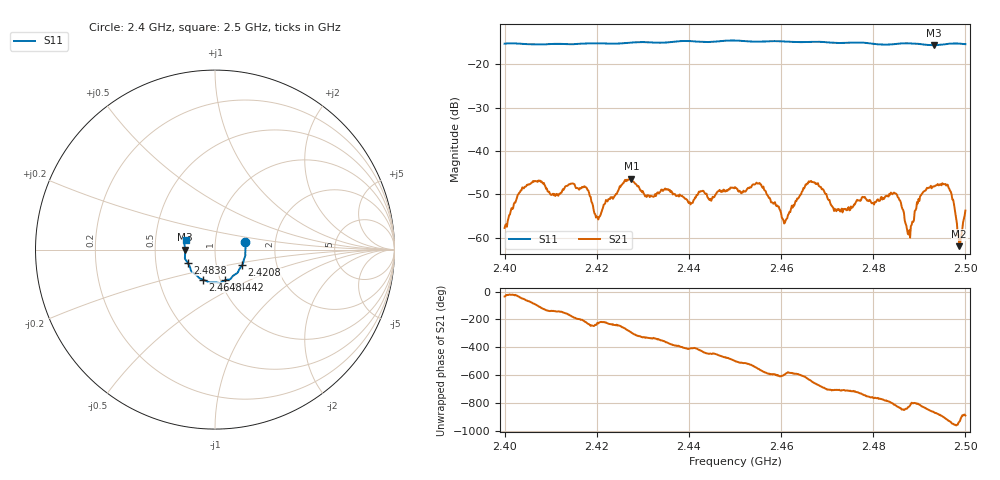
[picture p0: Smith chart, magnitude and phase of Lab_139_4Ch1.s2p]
# Hz S RI R 50
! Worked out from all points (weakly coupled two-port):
!   601 points, 2.4 GHz to 2.5 GHz, reference 50 ohm
!   highest |S21| = -46.43 dB at 2.4275 GHz (marker M1); lowest = -62.0 dB at 2.4987 GHz (marker M2)
!   lowest |S11| = -15.6 dB at 2.4932 GHz (marker M3), VSWR 1.40, Z = 35.8 - j0.0838 ohm
!   |S11| at or under -10 dB: start of sweep to end of sweep
!   S12 and S22 are empty: the file has one direction only
!   S11 on the Smith chart (normalised r, x): 2.4 GHz: 1.40, +0.12; 2.4208 GHz: 1.33, -0.24; 2.4442 GHz: 1.05, -0.37; 2.4648 GHz: 0.83, -0.29; 2.4838 GHz: 0.73, -0.11; 2.5 GHz: 0.72, +0.08
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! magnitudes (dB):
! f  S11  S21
! 2.4 GHz  -15.3  -57.8
! 2.4062 GHz  -15.4  -47.0
! 2.4167 GHz  -15.2  -48.6
! 2.4208 GHz  -15.2  -54.7
! 2.4275 GHz  -15.0  -46.4
! 2.4333 GHz  -15.0  -49.6
! 2.4442 GHz  -14.9  -50.9
! 2.45 GHz  -14.5  -48.4
! 2.4552 GHz  -14.8  -47.5
! 2.4608 GHz  -14.8  -56.6
! 2.4648 GHz  -14.9  -48.6
! 2.4667 GHz  -14.8  -47.2
! 2.4723 GHz  -15.1  -53.7
! 2.4833 GHz  -15.5  -50.5
! 2.4838 GHz  -15.4  -49.6
! 2.4855 GHz  -15.3  -50.8
! 2.4878 GHz  -15.2  -58.3
! 2.4903 GHz  -15.4  -50.3
! 2.4932 GHz  -15.6  -48.2
! 2.4965 GHz  -15.3  -48.7
! 2.4987 GHz  -15.2  -62.0
! 2.5 GHz  -15.4  -53.8
